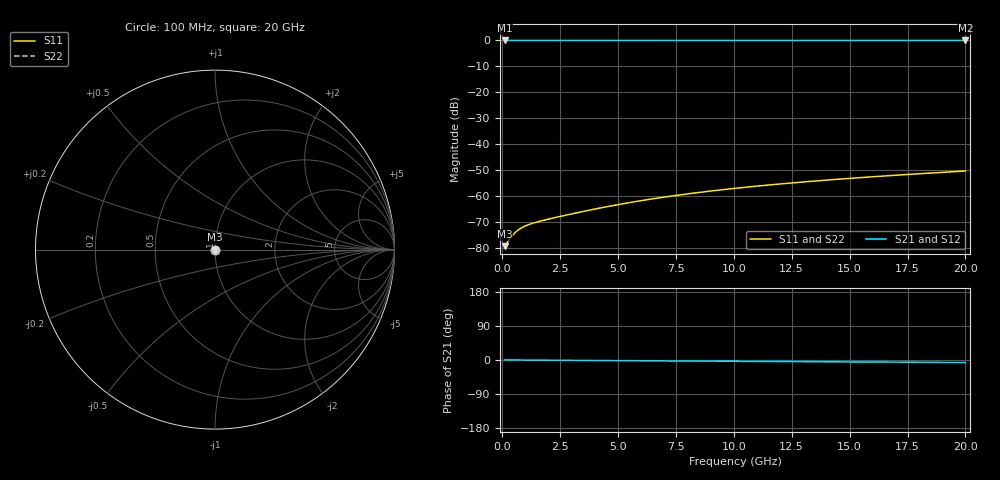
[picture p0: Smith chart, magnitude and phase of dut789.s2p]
! Touchstone file exported from HFSS 2026.1.0
!  File:  C:/ffzhzh/LocalFiles/Ansys_Project_Files/temp_train_TSV_789_1783183816_51560.aedt
!  Generated:  12:51:38 AM Jul  5, 2026
!  Design:  TSV
!  Project:  temp_train_TSV_789_1783183816_51560
! Variables:
!  h_bsmrdl = 2um
!  h_ox = 20um
!  h_rdl = 5um
!  h_sub = 65.5um
!  h_tmrdl = 5um
!  h_tsv = 65.5um
!  h_via = 3um
!  l_bsmrdl = 300um
!  l_sub = 420.56um
!  l_tmrdl = 200um
!  m_sub = 200um
!  pitch = 40.18um
!  r_tsv = 10.28um
!  s_tmrdl = 10um
!  w_bsmrdl = 18um
!  w_sub = 500um
!  w_tmrdl = 12um
!  x_tsv_center1 = 206um
!  x_tsv_center2 = 524um
!  x_tsv_center3 = 736um
!  x_tsv_center4 = 1054um
!  x_tsv_center5 = 1266um
!  x_tsv_center6 = 1584um
# GHz S MA R 50.000000
! Terminal data exported
! Port[1] = TSV1_1_T1
! Port[2] = TSV1_1_T2
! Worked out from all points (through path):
!   200 points, 100 MHz to 20 GHz, reference 50 ohm
!   highest |S21| = 0.00 dB at 100 MHz (marker M1); lowest = 0.0 dB at 20 GHz (marker M2)
!   lowest |S11| = -79.2 dB at 100 MHz (marker M3), VSWR 1.00, Z = 50 + j0.0023 ohm
!   |S11| at or under -10 dB: start of sweep to end of sweep
!   |S22| runs from -79.2 to -50.3 dB; largest |S21 - S12| = 4.7e-15
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0.1  0.0001094 12.1  0.9999 -0.0  0.9999 -0.0  0.0001094 12.1
! Gamma 0 0 0 0
! Port Impedance 50 0 50 0
0.2  0.0001253 20.3  0.9999 -0.1  0.9999 -0.1  0.0001253 20.3
0.3  0.0001461 24.1  0.9999 -0.1  0.9999 -0.1  0.0001461 24.1
0.4  0.0001681 24.8  0.9998 -0.1  0.9998 -0.1  0.0001681 24.8
0.5  0.0001892 23.8  0.9998 -0.2  0.9998 -0.2  0.0001892 23.8
0.6  0.0002086 21.8  0.9998 -0.2  0.9998 -0.2  0.0002086 21.8
0.7  0.000226 19.3  0.9998 -0.2  0.9998 -0.2  0.000226 19.3
0.8  0.0002416 16.6  0.9998 -0.3  0.9998 -0.3  0.0002415 16.6
1  0.0002681 11.3  0.9997 -0.3  0.9997 -0.3  0.0002681 11.3
1.3  0.0003004 3.9  0.9997 -0.4  0.9997 -0.4  0.0003004 3.9
1.8  0.000346 -6.3  0.9997 -0.6  0.9997 -0.6  0.000346 -6.3
2.5  0.000409 -17.1  0.9996 -0.8  0.9996 -0.8  0.000409 -17.1
3.5  0.0005107 -28.2  0.9995 -1.2  0.9995 -1.2  0.0005107 -28.2
5.1  0.0007035 -40.4  0.9995 -1.7  0.9995 -1.7  0.0007035 -40.4
5.9  0.0008103 -44.9  0.9994 -2.0  0.9994 -2.0  0.0008103 -44.9
6.8  0.0009362 -49.2  0.9994 -2.3  0.9994 -2.3  0.0009362 -49.2
8.4  0.00117 -55.3  0.9993 -2.8  0.9993 -2.8  0.00117 -55.3
10.1  0.001429 -60.3  0.9992 -3.4  0.9992 -3.4  0.001429 -60.3
11.7  0.001678 -64.0  0.9992 -3.9  0.9992 -3.9  0.001678 -64.0
13.4  0.001949 -67.2  0.9991 -4.5  0.9991 -4.5  0.001949 -67.2
16.7  0.002492 -72.0  0.999 -5.6  0.999 -5.6  0.002492 -72.0
20  0.003062 -75.5  0.9989 -6.6  0.9989 -6.6  0.003062 -75.5
